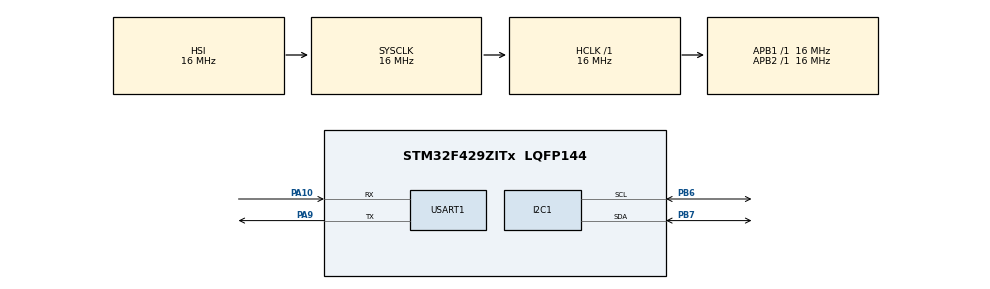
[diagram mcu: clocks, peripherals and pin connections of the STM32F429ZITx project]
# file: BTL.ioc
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Mcu.Family=STM32F4
Mcu.Name=STM32F429ZITx
Mcu.Package=LQFP144
NVIC.PriorityGroup=NVIC_PRIORITYGROUP_4
PA10.Mode=Asynchronous
PA10.Signal=USART1_RX
PA9.Mode=Asynchronous
PA9.Signal=USART1_TX
PB6.Mode=I2C
PB6.Signal=I2C1_SCL
PB7.Mode=I2C
PB7.Signal=I2C1_SDA
ProjectManager.HeapSize=0x200
ProjectManager.StackSize=0x400
ProjectManager.TargetToolchain=STM32CubeIDE
RCC.AHBFreq_Value=16000000
RCC.APB1Freq_Value=16000000
RCC.APB2Freq_Value=16000000
RCC.CortexFreq_Value=16000000
RCC.HSE_VALUE=25000000
RCC.HSI_VALUE=16000000
RCC.LSE_VALUE=32768
RCC.SYSCLKFreq_VALUE=16000000
RCC.VCOOutputFreq_Value=192000000
USART1.VirtualMode=VM_ASYNC
board=custom

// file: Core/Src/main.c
/* USER CODE BEGIN Header */
/**
  ******************************************************************************
  * @file           : main.c
  * @brief          : Main program body
  ******************************************************************************
  * @attention
  *
  * Copyright (c) 2025 STMicroelectronics.
  * All rights reserved.
  *
  * This software is licensed under terms that can be found in the LICENSE file
  * in the root directory of this software component.
  * If no LICENSE file comes with this software, it is provided AS-IS.
  *
  ******************************************************************************
  */
/* USER CODE END Header */
#include "main.h"
#include <stdio.h>
#include <string.h>
#include <stdint.h>
#include "KalmanFilter.h"

/* USER CODE BEGIN PD */
#define MPU6050_ADDR            0xD0
#define MPU6050_WHO_AM_I        0x75
#define MPU6050_PWR_MGMT_1      0x6B
#define MPU6050_ACCEL_XOUT_H    0x3B
#define MPU6050_GYRO_XOUT_H     0x43

#define MPU6050_WHO_AM_I_VALUE  0x68
/* USER CODE END PD */

I2C_HandleTypeDef hi2c1;

UART_HandleTypeDef huart1;

/* USER CODE BEGIN PV */
int16_t Accel_X_RAW, Accel_Y_RAW, Accel_Z_RAW;
int16_t Gyro_X_RAW, Gyro_Y_RAW, Gyro_Z_RAW;
int16_t Ax, Ay, Az;
int16_t Gx, Gy, Gz;

// Khởi tạo Kalman Filter cho trục X và Y
KalmanFilter_t kalmanX;
KalmanFilter_t kalmanY;

// Biến lưu thời gian
uint32_t lastTime = 0;
/* USER CODE END PV */

void SystemClock_Config(void);
static void MX_GPIO_Init(void);
static void MX_I2C1_Init(void);
static void MX_USART1_UART_Init(void);
/* USER CODE BEGIN PFP */
static uint8_t MPU6050_Init(void);
/* USER CODE END PFP */

int main(void)
{

  /* MCU Configuration--------------------------------------------------------*/

  /* Reset of all peripherals, Initializes the Flash interface and the Systick. */
  HAL_Init();

  /* Configure the system clock */
  SystemClock_Config();

  /* Initialize all configured peripherals */
  MX_GPIO_Init();
  MX_I2C1_Init();
  MX_USART1_UART_Init();
  /* USER CODE BEGIN 2 */

  // Initialize MPU6050
  if(MPU6050_Init() != 0) {
    Error_Handler();
  }

  // Khởi tạo Kalman Filter
  KalmanFilter_Init(&kalmanX, 0.001, 0.003, 0.03);  // Q_angle, Q_bias, R_measure
  KalmanFilter_Init(&kalmanY, 0.001, 0.003, 0.03);

  lastTime = HAL_GetTick();

  /* USER CODE END 2 */

  /* Infinite loop */
  while (1)
  {

    /* USER CODE BEGIN 3 */
    // Read MPU6050 data
    MPU6050_Read_Accel();
    MPU6050_Read_Gyro();

    // Convert raw values to actual values (multiply by 100 to keep 2 decimal places)
    Ax = (Accel_X_RAW * 100) / 16384;
    Ay = (Accel_Y_RAW * 100) / 16384;
    Az = (Accel_Z_RAW * 100) / 16384;

    Gx = (Gyro_X_RAW * 100) / 131;
    Gy = (Gyro_Y_RAW * 100) / 131;
    Gz = (Gyro_Z_RAW * 100) / 131;

    // Tính thời gian delta
    uint32_t currentTime = HAL_GetTick();
    float dt = (currentTime - lastTime) / 1000.0f;
    lastTime = currentTime;

    // Tính góc từ gia tốc kế
    float accelXangle = atan2f(Ay/100.0f, Az/100.0f) * 180.0f / 3.14159f;
    float accelYangle = atan2f(-Ax/100.0f, sqrtf((Ay/100.0f)*(Ay/100.0f) + (Az/100.0f)*(Az/100.0f))) * 180.0f / 3.14159f;

    // Áp dụng Kalman Filter
    float kalmanXangle = KalmanFilter_Update(&kalmanX, accelXangle, Gx/100.0f, dt);
    float kalmanYangle = KalmanFilter_Update(&kalmanY, accelYangle, Gy/100.0f, dt);

    // Print values through UART
    char buffer[100];
    sprintf(buffer, "X:%d.%02d, Y:%d.%02d, Z:%d.%02d\r\n",
            (int)(kalmanXangle * 100), abs((int)(kalmanXangle * 100) % 100),
            (int)(kalmanYangle * 100), abs((int)(kalmanYangle * 100) % 100),
            Gz/100, abs(Gz%100));
    HAL_UART_Transmit(&huart1, (uint8_t*)buffer, strlen(buffer), 100);

    HAL_Delay(10); // Read every 10ms for better filtering
  }
  /* USER CODE END 3 */
}

void SystemClock_Config(void)
{
  RCC_OscInitTypeDef RCC_OscInitStruct = {0};
  RCC_ClkInitTypeDef RCC_ClkInitStruct = {0};

  /** Configure the main internal regulator output voltage
  */
  __HAL_RCC_PWR_CLK_ENABLE();
  __HAL_PWR_VOLTAGESCALING_CONFIG(PWR_REGULATOR_VOLTAGE_SCALE3);

  /** Initializes the RCC Oscillators according to the specified parameters
  * in the RCC_OscInitTypeDef structure.
  */
  RCC_OscInitStruct.OscillatorType = RCC_OSCILLATORTYPE_HSI;
  RCC_OscInitStruct.HSIState = RCC_HSI_ON;
  RCC_OscInitStruct.HSICalibrationValue = RCC_HSICALIBRATION_DEFAULT;
  RCC_OscInitStruct.PLL.PLLState = RCC_PLL_NONE;
  if (HAL_RCC_OscConfig(&RCC_OscInitStruct) != HAL_OK)
  {
    Error_Handler();
  }

  /** Initializes the CPU, AHB and APB buses clocks
  */
  RCC_ClkInitStruct.ClockType = RCC_CLOCKTYPE_HCLK|RCC_CLOCKTYPE_SYSCLK
                              |RCC_CLOCKTYPE_PCLK1|RCC_CLOCKTYPE_PCLK2;
  RCC_ClkInitStruct.SYSCLKSource = RCC_SYSCLKSOURCE_HSI;
  RCC_ClkInitStruct.AHBCLKDivider = RCC_SYSCLK_DIV1;
  RCC_ClkInitStruct.APB1CLKDivider = RCC_HCLK_DIV1;
  RCC_ClkInitStruct.APB2CLKDivider = RCC_HCLK_DIV1;

  if (HAL_RCC_ClockConfig(&RCC_ClkInitStruct, FLASH_LATENCY_0) != HAL_OK)
  {
    Error_Handler();
  }
}

static void MX_I2C1_Init(void)
{

  hi2c1.Instance = I2C1;
  hi2c1.Init.ClockSpeed = 100000;
  hi2c1.Init.DutyCycle = I2C_DUTYCYCLE_2;
  hi2c1.Init.OwnAddress1 = 0;
  hi2c1.Init.AddressingMode = I2C_ADDRESSINGMODE_7BIT;
  hi2c1.Init.DualAddressMode = I2C_DUALADDRESS_DISABLE;
  hi2c1.Init.OwnAddress2 = 0;
  hi2c1.Init.GeneralCallMode = I2C_GENERALCALL_DISABLE;
  hi2c1.Init.NoStretchMode = I2C_NOSTRETCH_DISABLE;
  if (HAL_I2C_Init(&hi2c1) != HAL_OK)
  {
    Error_Handler();
  }

  /** Configure Analogue filter
  */
  if (HAL_I2CEx_ConfigAnalogFilter(&hi2c1, I2C_ANALOGFILTER_ENABLE) != HAL_OK)
  {
    Error_Handler();
  }

  /** Configure Digital filter
  */
  if (HAL_I2CEx_ConfigDigitalFilter(&hi2c1, 0) != HAL_OK)
  {
    Error_Handler();
  }

}

static void MX_USART1_UART_Init(void)
{

  huart1.Instance = USART1;
  huart1.Init.BaudRate = 115200;
  huart1.Init.WordLength = UART_WORDLENGTH_8B;
  huart1.Init.StopBits = UART_STOPBITS_1;
  huart1.Init.Parity = UART_PARITY_NONE;
  huart1.Init.Mode = UART_MODE_TX_RX;
  huart1.Init.HwFlowCtl = UART_HWCONTROL_NONE;
  huart1.Init.OverSampling = UART_OVERSAMPLING_16;
  if (HAL_UART_Init(&huart1) != HAL_OK)
  {
    Error_Handler();
  }

}

static void MX_GPIO_Init(void)
{

  /* GPIO Ports Clock Enable */
  __HAL_RCC_GPIOA_CLK_ENABLE();
  __HAL_RCC_GPIOB_CLK_ENABLE();

}

/* USER CODE BEGIN 4 */
static uint8_t MPU6050_Init(void)
{
    uint8_t check;
    uint8_t data;

    // Check device ID
    HAL_I2C_Mem_Read(&hi2c1, MPU6050_ADDR, MPU6050_WHO_AM_I, 1, &check, 1, 100);
    if(check != MPU6050_WHO_AM_I_VALUE) {
        return 1; // Error
    }

    // Wake up MPU6050
    data = 0;
    HAL_I2C_Mem_Write(&hi2c1, MPU6050_ADDR, MPU6050_PWR_MGMT_1, 1, &data, 1, 100);

    return 0; // Success
}

void MPU6050_Read_Accel(void)
{
    uint8_t Rec_Data[6];

    // Read 6 bytes starting from ACCEL_XOUT_H register
    HAL_I2C_Mem_Read(&hi2c1, MPU6050_ADDR, MPU6050_ACCEL_XOUT_H, 1, Rec_Data, 6, 100);

    Accel_X_RAW = (int16_t)(Rec_Data[0] << 8 | Rec_Data[1]);
    Accel_Y_RAW = (int16_t)(Rec_Data[2] << 8 | Rec_Data[3]);
    Accel_Z_RAW = (int16_t)(Rec_Data[4] << 8 | Rec_Data[5]);
}

void MPU6050_Read_Gyro(void)
{
    uint8_t Rec_Data[6];

    // Read 6 bytes starting from GYRO_XOUT_H register
    HAL_I2C_Mem_Read(&hi2c1, MPU6050_ADDR, MPU6050_GYRO_XOUT_H, 1, Rec_Data, 6, 100);

    Gyro_X_RAW = (int16_t)(Rec_Data[0] << 8 | Rec_Data[1]);
    Gyro_Y_RAW = (int16_t)(Rec_Data[2] << 8 | Rec_Data[3]);
    Gyro_Z_RAW = (int16_t)(Rec_Data[4] << 8 | Rec_Data[5]);
}
/* USER CODE END 4 */

void Error_Handler(void)
{
  __disable_irq();
  while (1)
  {
  }
}
